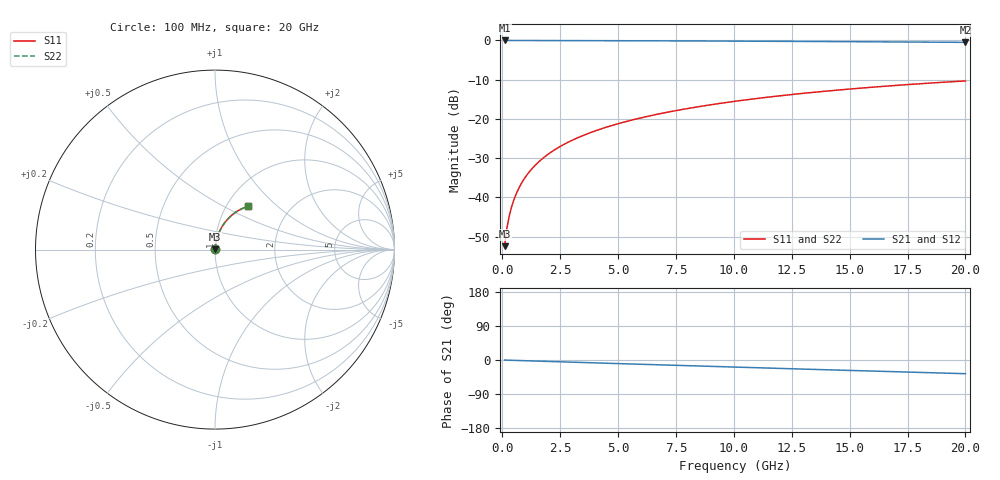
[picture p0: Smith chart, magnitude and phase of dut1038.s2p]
! Touchstone file exported from HFSS 2026.1.0
!  File:  C:/ffzhzh/LocalFiles/Ansys_Project_Files/temp_train_BSMRDL_1038_1783173725_18472.aedt
!  Generated:  10:03:17 PM Jul  4, 2026
!  Design:  BSMRDL
!  Project:  temp_train_BSMRDL_1038_1783173725_18472
! Variables:
!  h_bsmrdl = 5.71um
!  h_ox = 20um
!  h_rdl = 5um
!  h_sub = 80um
!  h_tmrdl = 5um
!  h_tsv = 80um
!  h_via = 3um
!  l_bsmrdl = 532.7um
!  l_sub = 932.7um
!  l_tmrdl = 200um
!  m_sub = 200um
!  pitch = 57.26um
!  r_tsv = 6um
!  s_tmrdl = 10um
!  w_bsmrdl = 28.58um
!  w_sub = 500um
!  w_tmrdl = 12um
!  x_tsv_center1 = 206um
!  x_tsv_center2 = 767.28um
!  x_tsv_center3 = 979.28um
!  x_tsv_center4 = 1540.56um
!  x_tsv_center5 = 1752.56um
!  x_tsv_center6 = 2313.84um
# GHz S MA R 50.000000
! Terminal data exported
! Port[1] = BSM_RDL1_1_T1
! Port[2] = BSM_RDL1_1_T2
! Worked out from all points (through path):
!   200 points, 100 MHz to 20 GHz, reference 50 ohm
!   highest |S21| = -0.01 dB at 100 MHz (marker M1); lowest = -0.5 dB at 20 GHz (marker M2)
!   group delay of S21, straight-line fit = 5.02 ps
!   lowest |S11| = -52.5 dB at 100 MHz (marker M3), VSWR 1.00, Z = 50.1 + j0.196 ohm
!   |S11| at or under -10 dB: start of sweep to end of sweep
!   |S22| runs from -52.5 to -10.3 dB; largest |S21 - S12| = 3.6e-15
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0.1  0.002381 55.2  0.9986 -0.2  0.9986 -0.2  0.002381 55.2
! Gamma 0 0 0 0
! Port Impedance 50 0 50 0
0.2  0.00406 68.3  0.9985 -0.4  0.9985 -0.4  0.00406 68.3
0.3  0.005775 73.9  0.9984 -0.6  0.9984 -0.6  0.005775 73.9
0.4  0.007514 77.0  0.9984 -0.8  0.9984 -0.8  0.007514 77.0
0.5  0.00927 78.9  0.9983 -1.0  0.9983 -1.0  0.00927 78.9
0.7  0.01281 81.0  0.9982 -1.4  0.9982 -1.4  0.01281 81.0
0.8  0.01459 81.6  0.9982 -1.6  0.9982 -1.6  0.01459 81.6
1  0.01814 82.3  0.998 -1.9  0.998 -1.9  0.01814 82.3
1.2  0.02169 82.6  0.9978 -2.3  0.9978 -2.3  0.02169 82.6
1.4  0.02523 82.7  0.9977 -2.7  0.9977 -2.7  0.02523 82.7
1.7  0.03052 82.6  0.9973 -3.3  0.9973 -3.3  0.03052 82.6
2  0.03578 82.3  0.997 -3.8  0.997 -3.8  0.03578 82.3
2.7  0.04791 81.4  0.996 -5.2  0.996 -5.2  0.04791 81.4
3.5  0.06156 80.2  0.9948 -6.7  0.9948 -6.7  0.06156 80.2
4.2  0.07335 79.1  0.9936 -8.0  0.9936 -8.0  0.07335 79.1
5  0.08668 77.8  0.9921 -9.5  0.9921 -9.5  0.08668 77.8
6.8  0.1162 74.8  0.9883 -12.8  0.9883 -12.8  0.1162 74.8
8.3  0.1402 72.2  0.9847 -15.6  0.9847 -15.6  0.1402 72.2
10.1  0.1682 69.1  0.9798 -18.8  0.9798 -18.8  0.1682 69.1
13.4  0.2173 63.5  0.9693 -24.7  0.9693 -24.7  0.2173 63.5
16.7  0.2629 57.9  0.9575 -30.5  0.9575 -30.5  0.2629 57.9
20  0.3046 52.4  0.9447 -36.1  0.9447 -36.1  0.3046 52.4
